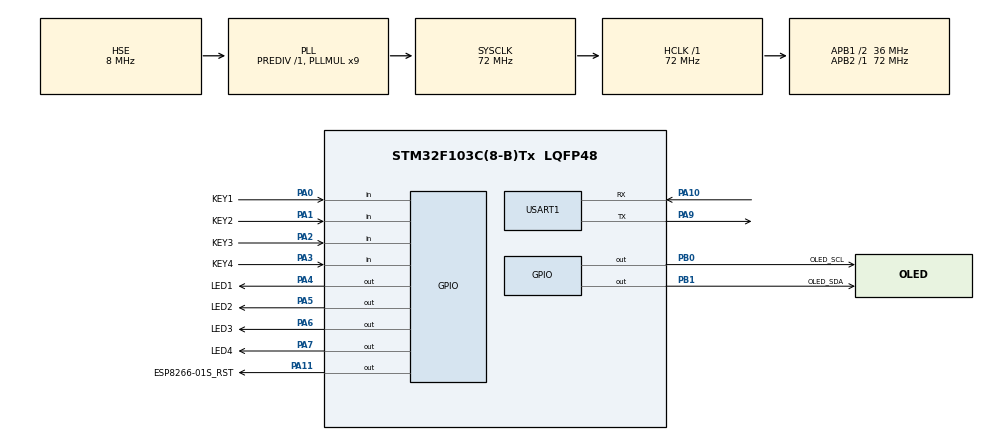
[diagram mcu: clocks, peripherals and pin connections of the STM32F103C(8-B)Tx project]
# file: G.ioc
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Mcu.Family=STM32F1
Mcu.Name=STM32F103C(8-B)Tx
Mcu.Package=LQFP48
NVIC.PriorityGroup=NVIC_PRIORITYGROUP_4
NVIC.USART1_IRQn=true\:0\:0\:false\:false\:true\:true\:true\:true
PA0-WKUP.GPIO_Label=KEY1
PA0-WKUP.GPIO_Mode=GPIO_MODE_INPUT
PA0-WKUP.GPIO_PuPd=GPIO_NOPULL
PA0-WKUP.Signal=GPIO_Input
PA1.GPIO_Label=KEY2
PA1.GPIO_Mode=GPIO_MODE_INPUT
PA1.GPIO_PuPd=GPIO_NOPULL
PA1.Signal=GPIO_Input
PA10.Mode=Asynchronous
PA10.Signal=USART1_RX
PA11.GPIO_Label=ESP8266-01S_RST
PA11.GPIO_ModeDefaultOutputPP=GPIO_MODE_OUTPUT_PP
PA11.GPIO_PuPd=GPIO_PULLDOWN
PA11.PinState=GPIO_PIN_SET
PA11.Signal=GPIO_Output
PA13.Mode=Serial_Wire
PA13.Signal=SYS_JTMS-SWDIO
PA14.Mode=Serial_Wire
PA14.Signal=SYS_JTCK-SWCLK
PA2.GPIO_Label=KEY3
PA2.GPIO_Mode=GPIO_MODE_INPUT
PA2.GPIO_PuPd=GPIO_NOPULL
PA2.Signal=GPIO_Input
PA3.GPIO_Label=KEY4
PA3.GPIO_Mode=GPIO_MODE_INPUT
PA3.GPIO_PuPd=GPIO_NOPULL
PA3.Signal=GPIO_Input
PA4.GPIO_Label=LED1
PA4.GPIO_ModeDefaultOutputPP=GPIO_MODE_OUTPUT_PP
PA4.GPIO_PuPd=GPIO_PULLDOWN
PA4.PinState=GPIO_PIN_RESET
PA4.Signal=GPIO_Output
PA5.GPIO_Label=LED2
PA5.GPIO_ModeDefaultOutputPP=GPIO_MODE_OUTPUT_PP
PA5.GPIO_PuPd=GPIO_PULLDOWN
PA5.PinState=GPIO_PIN_RESET
PA5.Signal=GPIO_Output
PA6.GPIO_Label=LED3
PA6.GPIO_ModeDefaultOutputPP=GPIO_MODE_OUTPUT_PP
PA6.GPIO_PuPd=GPIO_PULLDOWN
PA6.PinState=GPIO_PIN_RESET
PA6.Signal=GPIO_Output
PA7.GPIO_Label=LED4
PA7.GPIO_ModeDefaultOutputPP=GPIO_MODE_OUTPUT_PP
PA7.GPIO_PuPd=GPIO_PULLDOWN
PA7.PinState=GPIO_PIN_RESET
PA7.Signal=GPIO_Output
PA9.Mode=Asynchronous
PA9.Signal=USART1_TX
PB0.GPIO_Label=OLED_SCL
PB0.GPIO_PuPd=GPIO_PULLUP
PB0.GPIO_Speed=GPIO_SPEED_FREQ_HIGH
PB0.PinState=GPIO_PIN_SET
PB0.Signal=GPIO_Output
PB1.GPIO_Label=OLED_SDA
PB1.GPIO_PuPd=GPIO_PULLUP
PB1.GPIO_Speed=GPIO_SPEED_FREQ_HIGH
PB1.PinState=GPIO_PIN_SET
PB1.Signal=GPIO_Output
PD0-OSC_IN.Mode=HSE-External-Oscillator
PD0-OSC_IN.Signal=RCC_OSC_IN
PD1-OSC_OUT.Mode=HSE-External-Oscillator
PD1-OSC_OUT.Signal=RCC_OSC_OUT
ProjectManager.HeapSize=0x200
ProjectManager.StackSize=0x400
ProjectManager.TargetToolchain=MDK-ARM V5.32
RCC.AHBFreq_Value=72000000
RCC.APB1CLKDivider=RCC_HCLK_DIV2
RCC.APB1Freq_Value=36000000
RCC.APB1TimFreq_Value=72000000
RCC.APB2Freq_Value=72000000
RCC.APB2TimFreq_Value=72000000
RCC.HCLKFreq_Value=72000000
RCC.PLLMUL=RCC_PLL_MUL9
RCC.PLLSourceVirtual=RCC_PLLSOURCE_HSE
RCC.SYSCLKFreq_VALUE=72000000
RCC.SYSCLKSource=RCC_SYSCLKSOURCE_PLLCLK
RCC.USBFreq_Value=72000000
USART1.VirtualMode=VM_ASYNC
board=custom

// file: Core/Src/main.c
/* USER CODE BEGIN Header */
/**
  ******************************************************************************
  * @file           : main.c
  * @brief          : Main program body
  ******************************************************************************
  * @attention
  *
  * Copyright (c) 2025 STMicroelectronics.
  * All rights reserved.
  *
  * This software is licensed under terms that can be found in the LICENSE file
  * in the root directory of this software component.
  * If no LICENSE file comes with this software, it is provided AS-IS.
  *
  ******************************************************************************
  */
/* USER CODE END Header */
#include "main.h"
#include "usart.h"
#include "gpio.h"
#include "oled.h"
#include "key.h"
#include "stdio.h"
#include "string.h"
#include "esp8266.h"
#include "onenet.h"
#include "mqttkit.h"

/* USER CODE BEGIN PTD */
void OLED_Poce(void);
void KEY_Poce(void);
void DATA_Poce(void);
/* USER CODE END PTD */

void SystemClock_Config(void);

/* USER CODE BEGIN 0 */
char PUB_BUF[256];
unsigned char *dataPtr = NULL;
uint8_t key = 0;

uint8_t OLED[128] = {0};
uint8_t seat_Sate[4] = {0};
uint8_t seat_Flag[4] = {0};
uint8_t seat_Weiyue[4] = {0};

uint16_t time_Seat1[2] = {0};
uint16_t time_Seat2[2] = {0};
uint16_t time_Seat3[2] = {0};
uint16_t time_Seat4[2] = {0};
/* USER CODE END 0 */

int main(void)
{

  /* MCU Configuration--------------------------------------------------------*/

  /* Reset of all peripherals, Initializes the Flash interface and the Systick. */
  HAL_Init();

  /* Configure the system clock */
  SystemClock_Config();

  /* Initialize all configured peripherals */
  MX_GPIO_Init();
  MX_USART1_UART_Init();
	OLED_Init();
  ESP8266_Init();
	HAL_Delay(500);
	OLED_Clear();

  /* Infinite loop */
  while (1)
  {
		DATA_Poce();
		KEY_Poce();
		OLED_Poce();
  }
}

void SystemClock_Config(void)
{
  RCC_OscInitTypeDef RCC_OscInitStruct = {0};
  RCC_ClkInitTypeDef RCC_ClkInitStruct = {0};

  /** Initializes the RCC Oscillators according to the specified parameters
  * in the RCC_OscInitTypeDef structure.
  */
  RCC_OscInitStruct.OscillatorType = RCC_OSCILLATORTYPE_HSE;
  RCC_OscInitStruct.HSEState = RCC_HSE_ON;
  RCC_OscInitStruct.HSEPredivValue = RCC_HSE_PREDIV_DIV1;
  RCC_OscInitStruct.HSIState = RCC_HSI_ON;
  RCC_OscInitStruct.PLL.PLLState = RCC_PLL_ON;
  RCC_OscInitStruct.PLL.PLLSource = RCC_PLLSOURCE_HSE;
  RCC_OscInitStruct.PLL.PLLMUL = RCC_PLL_MUL9;
  if (HAL_RCC_OscConfig(&RCC_OscInitStruct) != HAL_OK)
  {
    Error_Handler();
  }

  /** Initializes the CPU, AHB and APB buses clocks
  */
  RCC_ClkInitStruct.ClockType = RCC_CLOCKTYPE_HCLK|RCC_CLOCKTYPE_SYSCLK
                              |RCC_CLOCKTYPE_PCLK1|RCC_CLOCKTYPE_PCLK2;
  RCC_ClkInitStruct.SYSCLKSource = RCC_SYSCLKSOURCE_PLLCLK;
  RCC_ClkInitStruct.AHBCLKDivider = RCC_SYSCLK_DIV1;
  RCC_ClkInitStruct.APB1CLKDivider = RCC_HCLK_DIV2;
  RCC_ClkInitStruct.APB2CLKDivider = RCC_HCLK_DIV1;

  if (HAL_RCC_ClockConfig(&RCC_ClkInitStruct, FLASH_LATENCY_2) != HAL_OK)
  {
    Error_Handler();
  }
}

/* USER CODE BEGIN 4 */
void OLED_Poce(void)
{
	sprintf((char *)OLED,"    Tu_Shu_Guan");
	OLED_ShowString(0,0,OLED,12,1);
	switch(seat_Sate[0])
	{
		case 0:sprintf((char *)OLED,"Seat:Wu_Ren    ");break;
		case 1:sprintf((char *)OLED,"Seat:Yi_Yu_Yue    ");break;
		case 2:sprintf((char *)OLED,"Seat:You_Ren    ");break;
	}
	OLED_ShowString(0,12,OLED,12,1);
	switch(seat_Sate[1])
	{
		case 0:sprintf((char *)OLED,"Seat:Wu_Ren    ");break;
		case 1:sprintf((char *)OLED,"Seat:Yi_Yu_Yue    ");break;
		case 2:sprintf((char *)OLED,"Seat:You_Ren    ");break;
	}
	OLED_ShowString(0,24,OLED,12,1);
	switch(seat_Sate[2])
	{
		case 0:sprintf((char *)OLED,"Seat:Wu_Ren    ");break;
		case 1:sprintf((char *)OLED,"Seat:Yi_Yu_Yue    ");break;
		case 2:sprintf((char *)OLED,"Seat:You_Ren    ");break;
	}
	OLED_ShowString(0,36,OLED,12,1);
	switch(seat_Sate[3])
	{
		case 0:sprintf((char *)OLED,"Seat:Wu_Ren    ");break;
		case 1:sprintf((char *)OLED,"Seat:Yi_Yu_Yue    ");break;
		case 2:sprintf((char *)OLED,"Seat:You_Ren    ");break;
	}
	OLED_ShowString(0,48,OLED,12,1);
}

void KEY_Poce(void)
{
	uint8_t key1;
	key1 = key_read();
	if(key1 != key)
		key = key1;
	else
		key1 = 0;
	switch(key1)
	{
		case 1:
		{
			if(seat_Flag[0] == 1)//当预约标志位置1是有效，将座位状态改为签到，并将预约标志位改为已签到
			{
				seat_Flag[0] = 2;
				seat_Sate[0] = 2;
				time_Seat1[0] = time_Seat1[1] = 0;
				led_dis(1,1);
			}
			break;
		}
		case 2:
		{
			if(seat_Flag[1] == 1)//当预约标志位置1是有效，将座位状态改为签到，并将预约标志位改为已签到
			{
				time_Seat2[0] = time_Seat2[1] = 0;
				seat_Flag[1] = 2;
				seat_Sate[1] = 2;
				led_dis(2,1);
			}
			break;
		}
		case 3:
		{
			if(seat_Flag[2] == 1)//当预约标志位置1是有效，将座位状态改为签到，并将预约标志位改为已签到
			{
				time_Seat3[0] = time_Seat3[1] = 0;
				seat_Flag[2] = 2;
				seat_Sate[2] = 2;
				led_dis(3,1);
			}
			break;
		}
		case 4:
		{
			if(seat_Flag[3] == 1)//当预约标志位置1是有效，将座位状态改为签到，并将预约标志位改为已签到
			{
				time_Seat4[0] = time_Seat4[1] = 0;
				seat_Flag[3] = 2;
				seat_Sate[3] = 2;
				led_dis(4,1);
			}
			break;
		}
	}
}

void DATA_Poce(void)
{
	dataPtr = ESP8266_GetIPD(3);//检测手机端数据返回
	if(dataPtr != NULL)
	{
		if(strstr((const char *)dataPtr, "ChaXun") != NULL)//查询座位信息
		{
			sprintf(PUB_BUF,"Seat1:%s,Seat2:%s,Seat3:%s,Seat4:%s",seat_Sate[0]?"Bu_Ke_Yu_Yue":"Wu_Ren",seat_Sate[1]?"Bu_Ke_Yu_Yue":"Wu_Ren",
			seat_Sate[2]?"Bu_Ke_Yu_Yue":"Wu_Ren",seat_Sate[3]?"Bu_Ke_Yu_Yue":"Wu_Ren");
			ESP8266_SendData((unsigned char *)PUB_BUF,strlen(PUB_BUF));
		}
		else if(strstr((const char *)dataPtr, "YuYue1") != NULL)//预约座位1
		{
			if(seat_Sate[0] == 0)//座位1可预约返回成功
			{
				sprintf(PUB_BUF,"Zuo_Wei_1_Yu_Yue_Chen_Gon");
				ESP8266_SendData((unsigned char *)PUB_BUF,strlen(PUB_BUF));
				time_Seat1[0] = time_Seat1[1] = 0;
				seat_Flag[0] = 1;
				seat_Sate[0] = 1;
			}
			else//座位1已被预约或已签到返回失败
			{
				sprintf(PUB_BUF,"Zuo_Wei_1_Yu_Yue_Shi_Bai");
				ESP8266_SendData((unsigned char *)PUB_BUF,strlen(PUB_BUF));
			}
		}
		else if(strstr((const char *)dataPtr, "YuYue2") != NULL)//预约座位2
		{
			if(seat_Sate[1] == 0)//座位2可预约返回成功
			{
				sprintf(PUB_BUF,"Zuo_Wei_2_Yu_Yue_Chen_Gon");
				ESP8266_SendData((unsigned char *)PUB_BUF,strlen(PUB_BUF));
				time_Seat2[0] = time_Seat2[1] = 0;
				seat_Flag[1] = 1;
				seat_Sate[1] = 1;
			}
			else//座位2已被预约或已签到返回失败
			{
				sprintf(PUB_BUF,"Zuo_Wei_2_Yu_Yue_Shi_Bai");
				ESP8266_SendData((unsigned char *)PUB_BUF,strlen(PUB_BUF));
			}
		}
		else if(strstr((const char *)dataPtr, "YuYue3") != NULL)//预约座位3
		{
			if(seat_Sate[2] == 0)//座位3可预约返回成功
			{
				sprintf(PUB_BUF,"Zuo_Wei_3_Yu_Yue_Chen_Gon");
				ESP8266_SendData((unsigned char *)PUB_BUF,strlen(PUB_BUF));
				time_Seat3[0] = time_Seat3[1] = 0;
				seat_Flag[2] = 1;
				seat_Sate[2] = 1;
			}
			else//座位3已被预约或已签到返回失败
			{
				sprintf(PUB_BUF,"Zuo_Wei_3_Yu_Yue_Shi_Bai");
				ESP8266_SendData((unsigned char *)PUB_BUF,strlen(PUB_BUF));
			}
		}
		else if(strstr((const char *)dataPtr, "YuYue4") != NULL)//预约座位4
		{
			if(seat_Sate[3] == 0)//座位4可预约返回成功
			{
				sprintf(PUB_BUF,"Zuo_Wei_4_Yu_Yue_Chen_Gon");
				ESP8266_SendData((unsigned char *)PUB_BUF,strlen(PUB_BUF));
				time_Seat4[0] = time_Seat4[1] = 0;
				seat_Flag[3] = 1;
				seat_Sate[3] = 1;
			}
			else//座位4已被预约或已签到返回失败
			{
				sprintf(PUB_BUF,"Zuo_Wei_4_Yu_Yue_Shi_Bai");
				ESP8266_SendData((unsigned char *)PUB_BUF,strlen(PUB_BUF));
			}
		}
	}
	if(seat_Weiyue[0] == 1)//迟到标志位置1时给客户端发送迟到信息，并将相关标志位回退
	{
		sprintf(PUB_BUF,"Zuo_Wei_1_Chi_Dap");
		ESP8266_SendData((unsigned char *)PUB_BUF,strlen(PUB_BUF));
		seat_Weiyue[0] = 0;
		seat_Sate[0] = 0;
	}
	if(seat_Weiyue[1] == 1)//迟到标志位置1时给客户端发送迟到信息，并将相关标志位回退
	{
		sprintf(PUB_BUF,"Zuo_Wei_2_Chi_Dap");
		ESP8266_SendData((unsigned char *)PUB_BUF,strlen(PUB_BUF));
		seat_Weiyue[0] = 0;
		seat_Sate[1] = 0;
	}
	if(seat_Weiyue[2] == 1)//迟到标志位置1时给客户端发送迟到信息，并将相关标志位回退
	{
		sprintf(PUB_BUF,"Zuo_Wei_3_Chi_Dap");
		ESP8266_SendData((unsigned char *)PUB_BUF,strlen(PUB_BUF));
		seat_Weiyue[2] = 0;
		seat_Sate[2] = 0;
	}
	if(seat_Weiyue[3] == 1)//迟到标志位置1时给客户端发送迟到信息，并将相关标志位回退
	{
		sprintf(PUB_BUF,"Zuo_Wei_4_Chi_Dap");
		ESP8266_SendData((unsigned char *)PUB_BUF,strlen(PUB_BUF));
		seat_Weiyue[3] = 0;
		seat_Sate[3] = 0;
	}
	if(seat_Sate[0] == 0) led_dis(1,0);
	if(seat_Sate[1] == 0) led_dis(2,0);
	if(seat_Sate[2] == 0) led_dis(3,0);
	if(seat_Sate[3] == 0) led_dis(4,0);
}
/* USER CODE END 4 */

void Error_Handler(void)
{
  __disable_irq();
  while (1)
  {
  }
}
